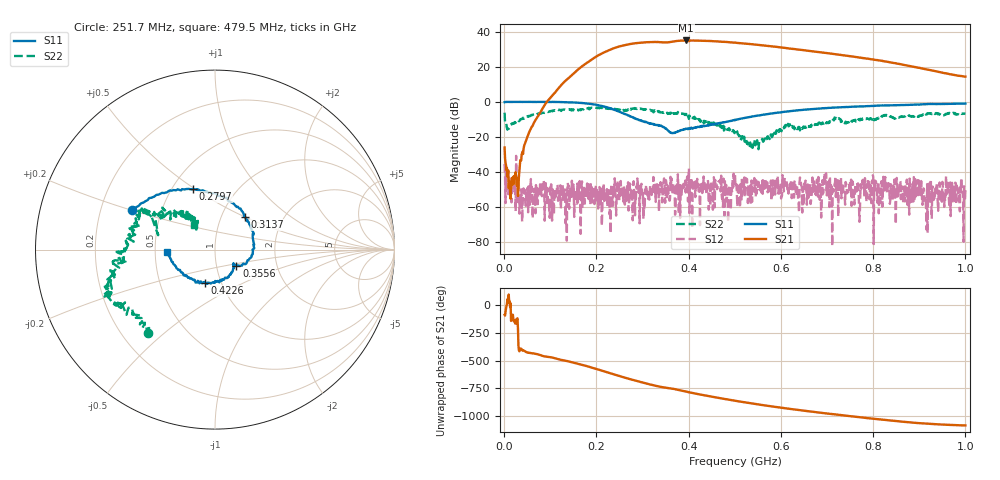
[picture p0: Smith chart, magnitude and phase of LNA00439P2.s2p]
! Created with skrf 1.9.0 (http://scikit-rf.org).
# Hz S RI R 50.0
!freq ReS11 ImS11 ReS21 ImS21 ReS12 ImS12 ReS22 ImS22
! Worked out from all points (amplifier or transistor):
!   1001 points, 1 MHz to 1 GHz, reference 50 ohm
!   highest |S21| = 35.1 dB at 394.6 MHz (marker M1)
!   |S21| within 3 dB of that: 256.3 MHz to 568.4 MHz (312 MHz wide, 75.7 % of centre)
!   unconditionally stable (mu >= 1): 240 MHz to 288.6 MHz; 289 MHz to 376.6 MHz; 376.6 MHz to end of sweep (the widest 3 of 34)
!   at 166.8 MHz: K = 3.05, MAG = 30.9 dB, |S12| = -57.3 dB
!   at 500.5 MHz: K = 1.31, MAG = 34.3 dB, |S12| = -41.4 dB
!   at 1 GHz: K = 4.87, MAG = 22.5 dB, |S12| = -50.2 dB
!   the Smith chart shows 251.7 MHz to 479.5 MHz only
!   S11 on the Smith chart (normalised r, x): 251.7 MHz: 0.34, +0.20; 279.7 MHz: 0.64, +0.49; 313.7 MHz: 1.30, +0.50; 355.6 MHz: 1.25, -0.23; 422.6 MHz: 0.84, -0.32; 479.5 MHz: 0.58, -0.01
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1000000  0.9809 0.00232  0.00123 -0.0499  -0.0165 0.00357  0.3341 0.3601
1.08892e8  0.5273 -0.8439  -0.8299 -1.567  0.000354 0.00247  0.4175 -0.3664
1.67833e8  -0.2181 -0.9058  -10.11 -0.5297  -0.00162 0.00358  0.0333 -0.6176
2.12788e8  -0.6742 -0.3548  -15.32 18.93  -0.000627 0.000495  -0.2403 -0.6254
2.31769e8  -0.6419 -0.0351  -7.789 30.61  0.0027 0.00176  -0.2902 -0.5505
2.51749e8  -0.4631 0.2183  7.209 37.97  -0.00303 -0.00195  -0.3757 -0.4625
2.79721e8  -0.1214 0.3375  32.2 33.01  -0.00213 0.00238  -0.5746 -0.2897
3.13687e8  0.1684 0.1815  50.11 7.285  -0.00311 -0.000373  -0.574 -0.1389
3.34666e8  0.2191 0.00829  49.87 -10.44  -0.00306 0.00283  -0.5121 -0.007
3.55645e8  0.1195 -0.0916  44.95 -22.57  -0.000599 0.00264  -0.4744 0.0703
3.72628e8  0.1054 -0.0874  42.58 -33.99  -0.00102 0.00385  -0.4242 0.1684
3.94606e8  0.0681 -0.1573  29.19 -48.48  0.00191 0.00501  -0.3969 0.2171
4.22578e8  -0.055 -0.1853  7.245 -55.31  0.0012 0.00246  -0.2213 0.2097
4.49551e8  -0.1773 -0.1372  -12.94 -52.52  0.0012 0.00284  -0.1346 0.1783
4.79521e8  -0.2658 -0.0111  -30.15 -41.71  0.000329 0.00216  -0.1173 0.1389
5.005e8  -0.2809 0.1015  -38.07 -31.2  -0.00209 -0.0083  -0.1091 0.1071
5.4046e8  -0.2342 0.3095  -42.51 -9.776  0.00301 0.000227  -0.0598 0.0108
5.88412e8  -0.0513 0.4822  -35.86 10.72  0.00403 -0.00264  -0.1055 -0.0743
6.67333e8  0.3213 0.5339  -14.2 23.79  0.00085 -0.00279  -0.2185 -0.0491
7.53247e8  0.6227 0.3676  3.642 19.45  -0.001 -0.000395  -0.2865 0.000179
8.34166e8  0.7842 0.139  9.938 9.405  -0.00464 -0.000598  -0.3967 0.0183
1e9  0.8082 -0.3894  5.25 -0.2314  0.00308 -0.000332  -0.27 0.3724
